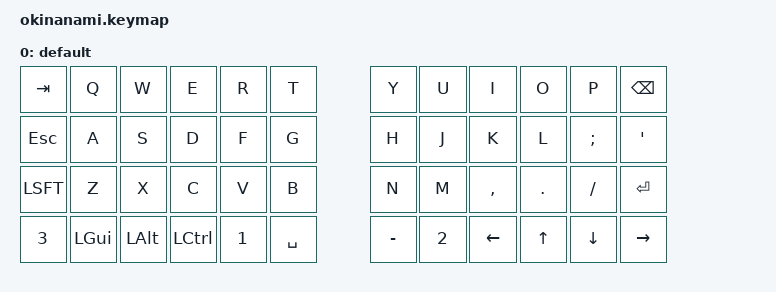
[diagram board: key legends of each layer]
/*
 * Copyright (c) 2024 The ZMK Contributors
 *
 * SPDX-License-Identifier: MIT
 */

#include <behaviors.dtsi>
#include <dt-bindings/zmk/bt.h>
#include <dt-bindings/zmk/keys.h>
#include <dt-bindings/zmk/outputs.h>

/{
    keymap {
        compatible = "zmk,keymap";

        default {
            bindings = <
                &kp TAB  &kp Q     &kp W     &kp E     &kp R     &kp T           &kp Y     &kp U     &kp I     &kp O     &kp P     &kp BSPC
                &kp ESC  &kp A     &kp S     &kp D     &kp F     &kp G           &kp H     &kp J     &kp K     &kp L     &kp SEMI  &kp APOS
                &kp LSFT &kp Z     &kp X     &kp C     &kp V     &kp B           &kp N     &kp M     &kp COMMA &kp DOT   &kp FSLH  &kp RET
                &kp N3   &kp LGUI  &kp LALT  &kp LCTRL &kp N1    &kp SPACE       &kp MINUS &kp N2    &kp LEFT  &kp UP    &kp DOWN  &kp RIGHT
            >;
        };
    };
};
